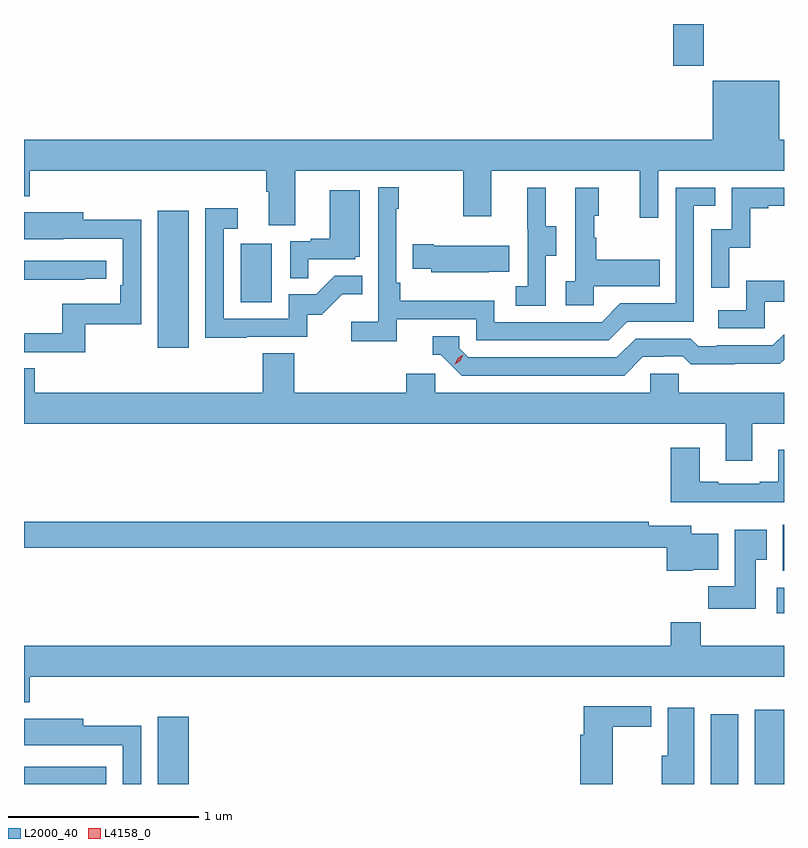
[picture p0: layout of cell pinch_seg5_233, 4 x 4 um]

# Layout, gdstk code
import gdstk
lib = gdstk.Library(unit=1e-6, precision=1e-09)
def R(c, l, rs):  # rectangles x0, y0, x1, y1
    for r in rs: c.add(gdstk.rectangle(r[:2], r[2:], *l))
def P(c, l, *ps):  # polygons
    for p in ps: c.add(gdstk.Polygon(p, *l))
L2000_40 = (2000, 40)
L4158_0 = (4158, 0)

pinch_seg5_233 = lib.new_cell('pinch_seg5_233')
R(pinch_seg5_233, L2000_40, [(969.152,896.156,969.586,896.247), (969.857,896.156,970.018,896.509), (972.767,896.156,972.91,896.524), (972.998,896.156,973.152,896.548), (973.113,897.056,973.152,897.19), (973.145,897.278,973.152,897.52), (969.857,898.452,970.018,899.173), (970.292,898.692,970.456,898.999), (972.569,899.937,972.729,900.156)])
P(pinch_seg5_233, L2000_40, [(970.579,899.384),(971.464,899.384),(971.464,899.145),(971.611,899.145),(971.611,899.384),(972.392,899.384),(972.392,899.136),(972.489,899.136),(972.489,899.384),(973.152,899.384),(973.152,899.548),(973.126,899.548),(973.126,899.857),(972.776,899.857),(972.776,899.548),(969.152,899.548),(969.152,899.249),(969.182,899.249),(969.182,899.384),(970.427,899.384),(970.427,899.272),(970.439,899.272),(970.439,899.098),(970.579,899.098)],
  [(971.114,898.602),(971.532,898.602),(971.532,898.491),(972.229,898.491),(972.328,898.59),(972.678,898.59),(972.678,899.199),(972.791,899.199),(972.791,899.295),(972.582,899.295),(972.582,898.686),(972.291,898.686),(972.192,898.587),(971.628,898.587),(971.628,898.699),(971.132,898.699),(971.132,898.795),(971.112,898.795),(971.112,899.183),(971.125,899.183),(971.125,899.296),(971.016,899.296),(971.016,898.588),(970.875,898.588),(970.875,898.486),(971.114,898.486)],
  [(972.864,898.979),(972.974,898.979),(972.974,899.187),(973.069,899.187),(973.069,899.199),(973.152,899.199),(973.152,899.295),(972.876,899.295),(972.876,899.076),(972.768,899.076),(972.768,898.767),(972.864,898.767)],
  [(972.15,898.775),(972.497,898.775),(972.497,898.915),(972.163,898.915),(972.163,899.03),(972.153,899.03),(972.153,899.148),(972.178,899.148),(972.178,899.293),(972.054,899.293),(972.054,898.802),(972.003,898.802),(972.003,898.677),(972.15,898.677)],
  [(971.898,898.936),(971.953,898.936),(971.953,899.091),(971.899,899.091),(971.899,899.293),(971.801,899.293),(971.801,899.079),(971.802,899.079),(971.802,898.775),(971.739,898.775),(971.739,898.672),(971.898,898.672)],
  [(970.649,898.917),(970.896,898.917),(970.896,898.932),(970.918,898.932),(970.918,899.281),(970.76,899.281),(970.76,899.026),(970.661,899.026),(970.661,899.013),(970.554,899.013),(970.554,898.819),(970.649,898.819)],
  [(970.325,898.509),(970.644,898.509),(970.644,898.626),(970.72,898.626),(970.827,898.733),(970.931,898.733),(970.931,898.832),(970.787,898.832),(970.689,898.734),(970.545,898.734),(970.545,898.605),(970.203,898.605),(970.203,899.079),(970.276,899.079),(970.276,899.185),(970.107,899.185),(970.107,898.504),(970.325,898.504)],
  [(969.475,898.575),(969.768,898.575),(969.768,899.126),(969.463,899.126),(969.463,899.164),(969.152,899.164),(969.152,899.024),(969.359,899.024),(969.359,899.025),(969.672,899.025),(969.672,898.78),(969.659,898.78),(969.659,898.684),(969.354,898.684),(969.354,898.529),(969.157,898.529),(969.157,898.524),(969.152,898.524),(969.152,898.428),(969.475,898.428)],
  [(971.597,898.853),(971.705,898.853),(971.705,898.99),(971.308,898.99),(971.308,898.998),(971.197,898.998),(971.197,898.868),(971.295,898.868),(971.295,898.85),(971.597,898.85)],
  [(969.473,898.815),(969.586,898.815),(969.586,898.911),(969.152,898.911),(969.152,898.81),(969.473,898.81)],
  [(973.05,898.695),(973.152,898.695),(973.152,898.804),(972.954,898.804),(972.954,898.65),(972.807,898.65),(972.807,898.554),(973.05,898.554)],
  [(972.409,898.404),(972.516,898.404),(972.516,898.407),(972.619,898.407),(972.661,898.365),(972.894,898.365),(972.894,898.367),(973.13,898.367),(973.152,898.389),(973.152,898.524),(973.092,898.464),(972.799,898.464),(972.799,898.461),(972.7,898.461),(972.661,898.5),(972.372,898.5),(972.273,898.401),(971.49,898.401),(971.442,898.449),(971.442,898.512),(971.303,898.512),(971.303,898.416),(971.346,898.416),(971.457,898.305),(972.31,898.305)],
  [(972.985,898.052),(973.152,898.052),(973.152,898.216),(972.597,898.216),(972.597,898.314),(972.447,898.314),(972.447,898.216),(971.316,898.216),(971.316,898.314),(971.165,898.314),(971.165,898.216),(970.574,898.216),(970.574,898.424),(970.409,898.424),(970.409,898.216),(969.209,898.216),(969.209,898.343),(969.152,898.343),(969.152,898.052),(972.845,898.052),(972.845,897.858),(972.985,897.858)],
  [(973.152,897.916),(973.121,897.916),(973.121,897.748),(973.025,897.748),(973.025,897.735),(972.805,897.735),(972.805,897.748),(972.709,897.748),(972.709,897.925),(972.557,897.925),(972.557,897.638),(973.152,897.638)],
  [(972.672,897.284),(972.805,897.284),(972.805,897.472),(972.664,897.472),(972.664,897.516),(972.44,897.516),(972.44,897.536),(969.152,897.536),(969.152,897.4),(972.536,897.4),(972.536,897.278),(972.672,897.278)],
  [(973.003,897.337),(973.06,897.337),(973.06,897.493),(972.893,897.493),(972.893,897.196),(972.754,897.196),(972.754,897.078),(973.003,897.078)],
  [(969.182,896.72),(973.152,896.72),(973.152,896.884),(972.713,896.884),(972.713,897.008),(972.557,897.008),(972.557,896.884),(969.152,896.884),(969.152,896.585),(969.182,896.585)],
  [(972.25,896.457),(972.454,896.457),(972.454,896.566),(972.098,896.566),(972.098,896.415),(972.08,896.415),(972.08,896.156),(972.25,896.156)],
  [(972.679,896.557),(972.539,896.557),(972.539,896.304),(972.509,896.304),(972.509,896.156),(972.679,896.156)],
  [(969.768,896.462),(969.463,896.462),(969.463,896.5),(969.152,896.5),(969.152,896.36),(969.359,896.36),(969.359,896.361),(969.672,896.361),(969.672,896.156),(969.768,896.156)])
P(pinch_seg5_233, L4158_0, [(971.418,898.364),(971.418,898.364),(971.434,898.396),(971.465,898.416),(971.465,898.416),(971.465,898.415),(971.449,898.383),(971.419,898.364)])

lib.write_gds('pinch_seg5_233.gds')
